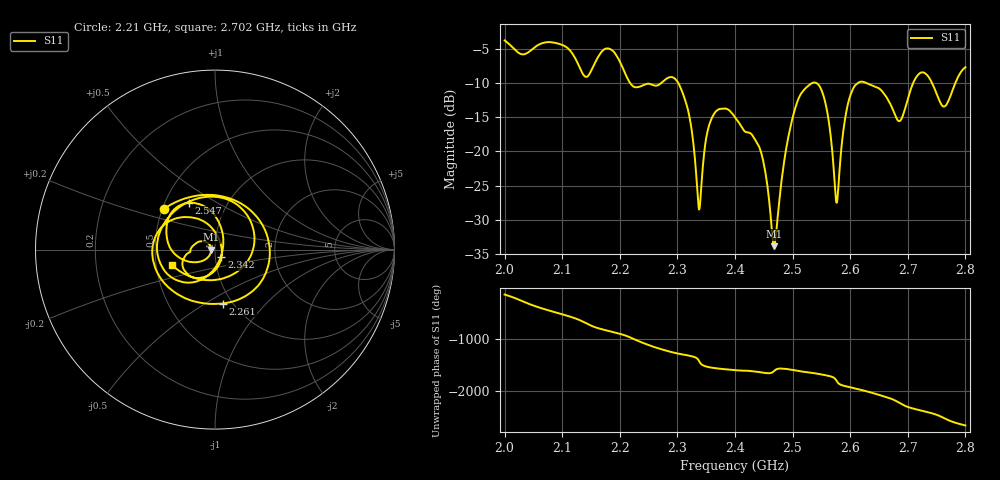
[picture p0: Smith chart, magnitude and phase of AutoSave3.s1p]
!Agilent N9923A: A.05.17
!Date: Sunday, 01 January 2006 12:24:28
!Model: N9923A
!Serial: MY50371189
!CHECKSUM:0076550917
!Correction: S11(ON U)
!S1P File: Measurement: S11:
# Hz S RI R 50
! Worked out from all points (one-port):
!   1001 points, 2 GHz to 2.8 GHz, reference 50 ohm
!   lowest |S11| = -33.9 dB at 2.468 GHz (marker M1), VSWR 1.04, Z = 48 - j0.0404 ohm
!   |S11| at or under -10 dB: 2.302 GHz to 2.534 GHz (232.3 MHz wide, 9.61 % of centre); 2.542 GHz to 2.613 GHz (71.43 MHz wide, 2.77 % of centre); 2.629 GHz to 2.709 GHz (80.68 MHz wide, 3.02 % of centre)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
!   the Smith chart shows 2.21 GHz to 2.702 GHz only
!   S11 on the Smith chart (normalised r, x): 2.21 GHz: 0.51, +0.27; 2.261 GHz: 0.90, -0.60; 2.342 GHz: 1.07, -0.09; 2.547 GHz: 0.66, +0.38; 2.702 GHz: 0.60, -0.11
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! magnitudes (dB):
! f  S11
! 2 GHz  -3.8
! 2.1 GHz  -4.4
! 2.141 GHz  -9.1
! 2.174 GHz  -5.0
! 2.2 GHz  -6.8
! 2.21 GHz  -8.8
! 2.261 GHz  -10.4
! 2.3 GHz  -9.8
! 2.322 GHz  -15.2
! 2.337 GHz  -28.1
! 2.342 GHz  -25.0
! 2.35 GHz  -18.2
! 2.361 GHz  -14.9
! 2.4 GHz  -15.0
! 2.445 GHz  -20.0
! 2.468 GHz  -33.9
! 2.5 GHz  -15.1
! 2.547 GHz  -10.5
! 2.562 GHz  -14.9
! 2.577 GHz  -27.5
! 2.6 GHz  -11.9
! 2.646 GHz  -10.6
! 2.685 GHz  -15.6
! 2.7 GHz  -12.3
! 2.702 GHz  -11.9
! 2.727 GHz  -8.4
! 2.764 GHz  -13.4
! 2.8 GHz  -7.7
